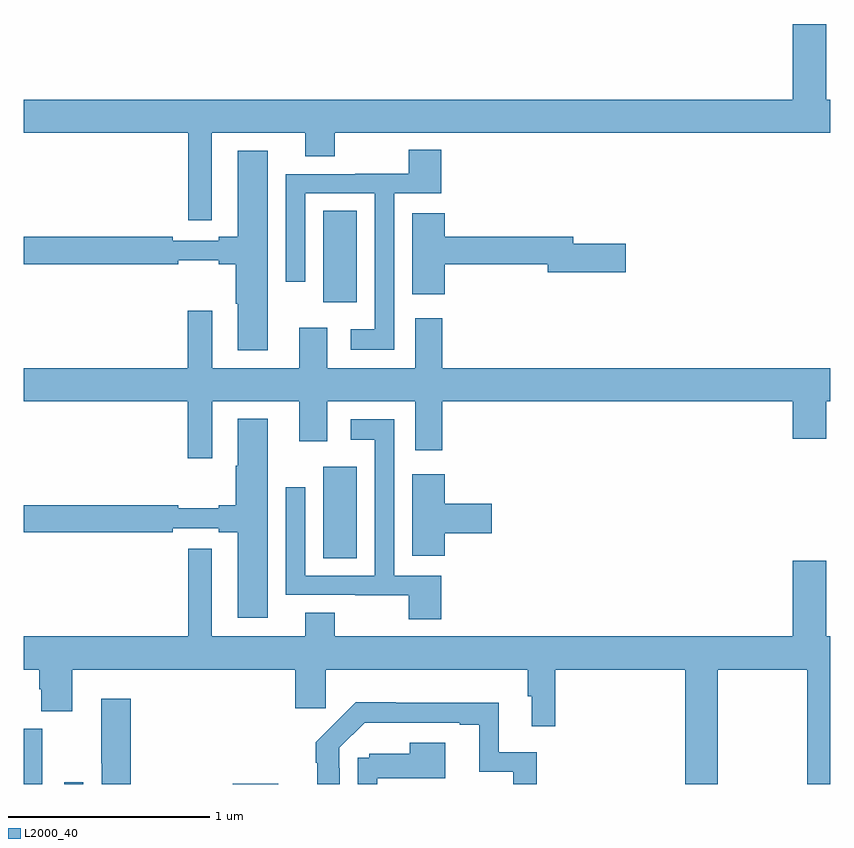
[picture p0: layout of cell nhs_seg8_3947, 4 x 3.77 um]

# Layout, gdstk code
import gdstk
lib = gdstk.Library(unit=1e-6, precision=1e-09)
def R(c, l, rs):  # rectangles x0, y0, x1, y1
    for r in rs: c.add(gdstk.rectangle(r[:2], r[2:], *l))
def P(c, l, *ps):  # polygons
    for p in ps: c.add(gdstk.Polygon(p, *l))
L2000_40 = (2000, 40)

nhs_seg8_3947 = lib.new_cell('nhs_seg8_3947')
R(nhs_seg8_3947, L2000_40, [(353,1147.9,353.092,1148.175), (353.199,1147.9,353.295,1147.909), (354.036,1147.9,354.261,1147.901), (354.485,1149.019,354.652,1149.475), (354.485,1150.29,354.652,1150.745)])
P(nhs_seg8_3947, L2000_40, [(353.932,1151.132),(354.395,1151.132),(354.395,1151.015),(354.543,1151.015),(354.543,1151.132),(357,1151.132),(357,1151.296),(356.98,1151.296),(356.98,1151.671),(356.816,1151.671),(356.816,1151.296),(353,1151.296),(353,1151.132),(353.815,1151.132),(353.815,1150.698),(353.932,1150.698)],
  [(354.837,1150.83),(355.07,1150.83),(355.07,1151.047),(354.91,1151.047),(354.91,1150.928),(354.644,1150.928),(354.644,1150.926),(354.3,1150.926),(354.3,1150.392),(354.396,1150.392),(354.396,1150.83),(354.741,1150.83),(354.741,1150.156),(354.621,1150.156),(354.621,1150.055),(354.837,1150.055)],
  [(354.211,1151.041),(354.062,1151.041),(354.062,1150.616),(353.966,1150.616),(353.966,1150.596),(353.738,1150.596),(353.738,1150.616),(353,1150.616),(353,1150.48),(353.766,1150.48),(353.766,1150.498),(353.966,1150.498),(353.966,1150.48),(354.05,1150.48),(354.05,1150.284),(354.062,1150.284),(354.062,1150.053),(354.211,1150.053)],
  [(355.088,1150.48),(355.598,1150.48),(355.598,1150.438),(355.987,1150.438),(355.987,1150.58),(355.726,1150.58),(355.726,1150.616),(355.088,1150.616),(355.088,1150.732),(354.926,1150.732),(354.926,1150.329),(355.088,1150.329)],
  [(353.935,1149.8),(354.365,1149.8),(354.365,1149.6),(354.505,1149.6),(354.505,1149.8),(354.941,1149.8),(354.941,1149.555),(355.076,1149.555),(355.076,1149.8),(356.816,1149.8),(356.816,1149.612),(356.98,1149.612),(356.98,1149.8),(357,1149.8),(357,1149.964),(355.076,1149.964),(355.076,1150.21),(354.941,1150.21),(354.941,1149.964),(354.505,1149.964),(354.505,1150.165),(354.365,1150.165),(354.365,1149.964),(353.935,1149.964),(353.935,1150.249),(353.814,1150.249),(353.814,1149.964),(353,1149.964),(353,1149.8),(353.814,1149.8),(353.814,1149.516),(353.935,1149.516)],
  [(354.211,1149.712),(354.062,1149.712),(354.062,1149.48),(354.05,1149.48),(354.05,1149.284),(353.966,1149.284),(353.966,1149.267),(353.766,1149.267),(353.766,1149.284),(353,1149.284),(353,1149.148),(353.738,1149.148),(353.738,1149.168),(353.966,1149.168),(353.966,1149.148),(354.062,1149.148),(354.062,1148.724),(354.211,1148.724)],
  [(355.07,1148.934),(354.837,1148.934),(354.837,1149.709),(354.621,1149.709),(354.621,1149.608),(354.741,1149.608),(354.741,1148.934),(354.396,1148.934),(354.396,1149.373),(354.3,1149.373),(354.3,1148.838),(354.644,1148.838),(354.644,1148.837),(354.91,1148.837),(354.91,1148.718),(355.07,1148.718)],
  [(355.088,1149.143),(355.321,1149.143),(355.321,1149.29),(355.088,1149.29),(355.088,1149.436),(354.926,1149.436),(354.926,1149.033),(355.088,1149.033)],
  [(356.816,1149.007),(356.816,1148.632),(354.543,1148.632),(354.543,1148.749),(354.395,1148.749),(354.395,1148.632),(353.932,1148.632),(353.932,1149.067),(353.815,1149.067),(353.815,1148.632),(353,1148.632),(353,1148.468),(353.075,1148.468),(353.075,1148.369),(353.087,1148.369),(353.087,1148.26),(353.24,1148.26),(353.24,1148.468),(354.347,1148.468),(354.347,1148.277),(354.497,1148.277),(354.497,1148.468),(355.501,1148.468),(355.501,1148.336),(355.52,1148.336),(355.52,1148.187),(355.637,1148.187),(355.637,1148.468),(356.282,1148.468),(356.282,1147.9),(356.442,1147.9),(356.442,1148.468),(356.887,1148.468),(356.887,1147.9),(357,1147.9),(357,1148.632),(356.98,1148.632),(356.98,1149.007)],
  [(353.531,1148.323),(353.384,1148.323),(353.384,1148.002),(353.385,1148.002),(353.385,1147.9),(353.531,1147.9)],
  [(354.567,1147.979),(354.564,1147.979),(354.564,1148.079),(354.69,1148.205),(355.163,1148.205),(355.163,1148.193),(355.259,1148.193),(355.259,1147.962),(355.428,1147.962),(355.428,1147.9),(355.544,1147.9),(355.544,1148.058),(355.357,1148.058),(355.357,1148.302),(354.845,1148.302),(354.845,1148.305),(354.646,1148.305),(354.449,1148.107),(354.449,1148.006),(354.455,1148.006),(354.455,1147.9),(354.567,1147.9)],
  [(354.753,1147.928),(355.09,1147.928),(355.09,1148.104),(354.914,1148.104),(354.914,1148.05),(354.714,1148.05),(354.714,1148.031),(354.657,1148.031),(354.657,1147.9),(354.753,1147.9)])

lib.write_gds('nhs_seg8_3947.gds')
